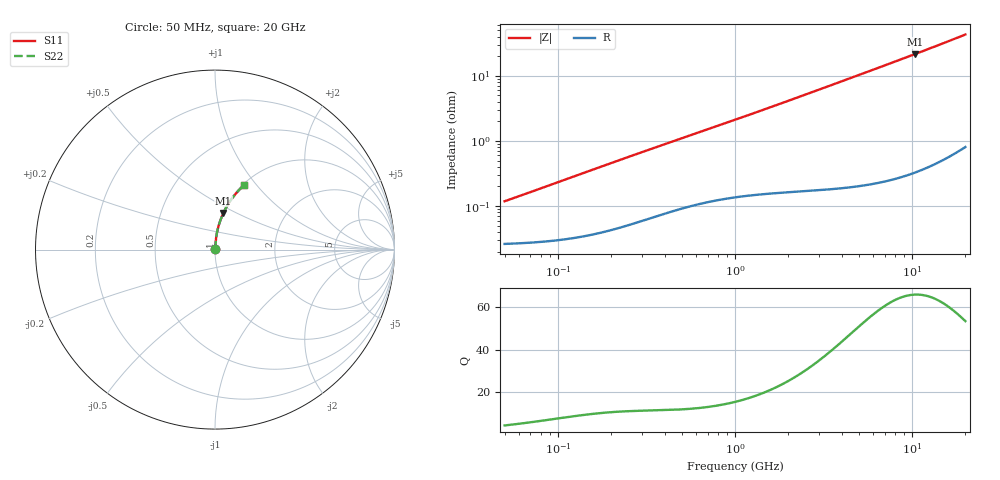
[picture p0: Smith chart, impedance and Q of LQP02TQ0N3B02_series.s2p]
!Murata Part Number: LQP02TQ0N3B02
!These Parameters are Measured in Series Mode Connection
!  o--[Z]--o
!Port1  Port2
!  o-------o
!Freq. Start=50[MHz] Stop=20[GHz], 401[Steps]
# Hz S RI R 50
!Freq.(Hz) S11(Real) S11(Imag) S21(Real) S21(Imag) S12(Real) S12(Imag) S22(Real) S22(Imag)
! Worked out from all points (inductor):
!   401 points, 50 MHz to 20 GHz, reference 50 ohm
!   read as one part in series: L = 368 pH near 51.52 MHz
!   highest Q = 66 at 10.35 GHz (marker M1), where L = 330 pH
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5e7  0.000263 0.00115  0.9997 -0.00115  0.9997 -0.00115  0.000263 0.00115
5.152053e7  0.000264 0.00119  0.9997 -0.00119  0.9997 -0.00119  0.000264 0.00119
5.984554e7  0.000269 0.00138  0.9997 -0.00138  0.9997 -0.00138  0.000269 0.00138
1.364002e8  0.000348 0.00313  0.9997 -0.00313  0.9997 -0.00313  0.000348 0.00313
2.33884e8  0.00051 0.0053  0.9995 -0.0053  0.9995 -0.0053  0.00051 0.0053
3.721004e8  0.000784 0.00826  0.9992 -0.00826  0.9992 -0.00826  0.000784 0.00826
6.380365e8  0.00127 0.0137  0.9987 -0.0137  0.9987 -0.0137  0.00127 0.0137
1e9  0.0018 0.021  0.9982 -0.021  0.9982 -0.021  0.0018 0.021
1.714689e9  0.00283 0.0353  0.9972 -0.0353  0.9972 -0.0353  0.00283 0.0353
2.728004e9  0.00485 0.0558  0.9952 -0.0558  0.9952 -0.0558  0.00485 0.0558
3.626126e9  0.00732 0.0738  0.9927 -0.0738  0.9927 -0.0738  0.00732 0.0738
4.677679e9  0.0111 0.0949  0.9889 -0.0949  0.9889 -0.0949  0.0111 0.0949
5.944466e9  0.0168 0.12  0.9832 -0.12  0.9832 -0.12  0.0168 0.12
7.442007e9  0.0253 0.1492  0.9747 -0.1492  0.9747 -0.1492  0.0253 0.1492
8.774992e9  0.0344 0.1747  0.9656 -0.1747  0.9656 -0.1747  0.0344 0.1747
1.034674e10  0.0469 0.204  0.9531 -0.204  0.9531 -0.204  0.0469 0.204
1.238412e10  0.0659 0.2405  0.9341 -0.2405  0.9341 -0.2405  0.0659 0.2405
1.460232e10  0.0899 0.2782  0.9101 -0.2782  0.9101 -0.2782  0.0899 0.2782
1.670968e10  0.1158 0.3117  0.8842 -0.3117  0.8842 -0.3117  0.1158 0.3117
1.800918e10  0.1331 0.3311  0.8669 -0.3311  0.8669 -0.3311  0.1331 0.3311
1.940974e10  0.1529 0.3508  0.8471 -0.3508  0.8471 -0.3508  0.1529 0.3508
2e10  0.1615 0.3588  0.8385 -0.3588  0.8385 -0.3588  0.1615 0.3588
